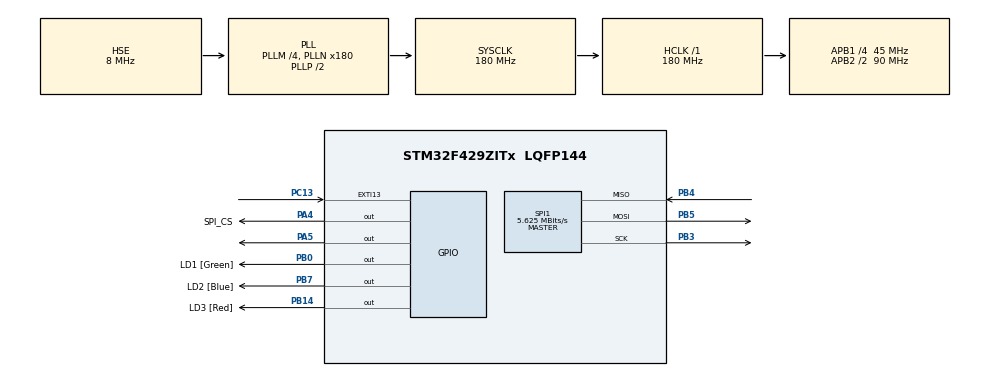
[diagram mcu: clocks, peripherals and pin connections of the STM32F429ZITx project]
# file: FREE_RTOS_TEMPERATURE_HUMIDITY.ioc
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FREERTOS.Queues01=myDataQueue,1,QUEUE_t,0,Dynamic,NULL,NULL;myTempDisplayQueue,1,Queue_Temp_Hum_t,0,Dynamic,NULL,NULL;myCalcDisplayQueue,1,Queue_Dev_t,0,Dynamic,NULL,NULL
FREERTOS.Tasks01=myDHT22Task,24,256,StartDHT22Task,Default,NULL,Dynamic,NULL,NULL;myCalculationTa,24,512,StartCalculationTask,Default,NULL,Dynamic,NULL,NULL;myDisplayTask,24,256,StartDisplayTask,Default,NULL,Dynamic,NULL,NULL
FREERTOS.configUSE_NEWLIB_REENTRANT=1
Mcu.Family=STM32F4
Mcu.Name=STM32F429ZITx
Mcu.Package=LQFP144
NVIC.EXTI15_10_IRQn=true\:5\:0\:false\:false\:true\:true\:true\:true\:true
NVIC.PriorityGroup=NVIC_PRIORITYGROUP_4
NVIC.SPI1_IRQn=true\:5\:0\:false\:false\:true\:true\:true\:true\:true
NVIC.TIM1_BRK_TIM9_IRQn=true\:5\:0\:false\:false\:true\:true\:true\:true\:true
NVIC.TIM1_UP_TIM10_IRQn=true\:5\:0\:false\:false\:true\:true\:true\:true\:true
NVIC.TIM2_IRQn=true\:5\:0\:false\:false\:true\:true\:true\:true\:true
NVIC.TIM6_DAC_IRQn=true\:15\:0\:false\:false\:true\:false\:false\:true\:true
NVIC.TimeBase=TIM6_DAC_IRQn
NVIC.TimeBaseIP=TIM6
PA13.Mode=Serial_Wire
PA13.Signal=SYS_JTMS-SWDIO
PA14.Mode=Serial_Wire
PA14.Signal=SYS_JTCK-SWCLK
PA4.GPIO_Label=SPI_CS
PA4.Signal=GPIO_Output
PA5.Signal=GPIO_Output
PB0.GPIO_Label=LD1 [Green]
PB0.Signal=GPIO_Output
PB14.GPIO_Label=LD3 [Red]
PB14.Signal=GPIO_Output
PB3.Mode=Full_Duplex_Master
PB3.Signal=SPI1_SCK
PB4.Mode=Full_Duplex_Master
PB4.Signal=SPI1_MISO
PB5.Mode=Full_Duplex_Master
PB5.Signal=SPI1_MOSI
PB7.GPIO_Label=LD2 [Blue]
PB7.Signal=GPIO_Output
PC13.GPIO_ModeDefaultEXTI=GPIO_MODE_IT_RISING
PC13.GPIO_PuPd=GPIO_PULLDOWN
PC13.Signal=GPXTI13
PC14/OSC32_IN.Mode=LSE-External-Oscillator
PC14/OSC32_IN.Signal=RCC_OSC32_IN
PC15/OSC32_OUT.Mode=LSE-External-Oscillator
PC15/OSC32_OUT.Signal=RCC_OSC32_OUT
PH0/OSC_IN.GPIO_Label=MCO [STM32F103CBT6_PA8]
PH0/OSC_IN.Mode=HSE-External-Clock-Source
PH0/OSC_IN.Signal=RCC_OSC_IN
PH1/OSC_OUT.Mode=HSE-External-Clock-Source
PH1/OSC_OUT.Signal=RCC_OSC_OUT
ProjectManager.HeapSize=0x200
ProjectManager.StackSize=0x400
ProjectManager.TargetToolchain=STM32CubeIDE
RCC.48MHZClocksFreq_Value=51428571.428571425
RCC.AHBFreq_Value=180000000
RCC.APB1CLKDivider=RCC_HCLK_DIV4
RCC.APB1Freq_Value=45000000
RCC.APB1TimFreq_Value=90000000
RCC.APB2CLKDivider=RCC_HCLK_DIV2
RCC.APB2Freq_Value=90000000
RCC.APB2TimFreq_Value=180000000
RCC.CortexFreq_Value=180000000
RCC.HCLKFreq_Value=180000000
RCC.HSE_VALUE=8000000
RCC.HSI_VALUE=16000000
RCC.PLLM=4
RCC.PLLMUL=RCC_PLL_MUL9
RCC.PLLN=180
RCC.PLLQ=7
RCC.PLLSourceVirtual=RCC_PLLSOURCE_HSE
RCC.PRESCALERUSB=RCC_USBCLKSOURCE_PLL_DIV1_5
RCC.SYSCLKFreq_VALUE=180000000
RCC.SYSCLKSource=RCC_SYSCLKSOURCE_PLLCLK
RCC.SYSCLKSourceVirtual=RCC_SYSCLKSOURCE_PLLCLK
RCC.USBFreq_Value=48000000
RCC.VCOOutputFreq_Value=360000000
SPI1.BaudRatePrescaler=SPI_BAUDRATEPRESCALER_16
SPI1.CalculateBaudRate=5.625 MBits/s
SPI1.Direction=SPI_DIRECTION_2LINES
SPI1.Mode=SPI_MODE_MASTER
SPI1.VirtualType=VM_MASTER
TIM1.Period=900-1
TIM1.Prescaler=1000-1
TIM2.Period=10000-1
TIM2.Prescaler=9000-1
VP_FREERTOS_VS_CMSIS_V2.Mode=CMSIS_V2
VP_SYS_VS_tim6.Mode=TIM6
VP_TIM1_VS_ClockSourceINT.Mode=Internal
VP_TIM2_VS_ClockSourceINT.Mode=Internal
board=NUCLEO-F429ZI

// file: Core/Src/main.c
/* USER CODE BEGIN Header */
/**
  ******************************************************************************
  * @file           : main.c
  * @brief          : Main program body
  ******************************************************************************
  * @attention
  *
  * Copyright (c) 2022 STMicroelectronics.
  * All rights reserved.
  *
  * This software is licensed under terms that can be found in the LICENSE file
  * in the root directory of this software component.
  * If no LICENSE file comes with this software, it is provided AS-IS.
  *
  ******************************************************************************
  */
/* USER CODE END Header */
#include "main.h"
#include "cmsis_os.h"

/* USER CODE BEGIN Includes */

#include <math.h>
#include "stdio.h"
#include <string.h>
#include <stdint.h>
#include <stdbool.h>
#include "DHT22.h"
#include "max7219_lib.h"

/* USER CODE END Includes */

/* USER CODE BEGIN PTD */

typedef struct {
	float temper;
	float humid;
} QUEUE_t;

typedef struct {
	float Temper;
	float Humid;
} Queue_Temp_Hum_t;

typedef struct {
	float max_deviation_t_pos;
	float max_deviation_t_neg;
	float max_deviation_h_pos;
	float max_deviation_h_neg;
} Queue_Dev_t;

/* USER CODE END PTD */

 SPI_HandleTypeDef hspi1;

TIM_HandleTypeDef htim1;
TIM_HandleTypeDef htim2;

/* Definitions for myDHT22Task */
osThreadId_t myDHT22TaskHandle;
const osThreadAttr_t myDHT22Task_attributes = {
  .name = "myDHT22Task",
  .stack_size = 256 * 4,
  .priority = (osPriority_t) osPriorityNormal,
};
/* Definitions for myCalculationTa */
osThreadId_t myCalculationTaHandle;
const osThreadAttr_t myCalculationTa_attributes = {
  .name = "myCalculationTa",
  .stack_size = 512 * 4,
  .priority = (osPriority_t) osPriorityNormal,
};
/* Definitions for myDisplayTask */
osThreadId_t myDisplayTaskHandle;
const osThreadAttr_t myDisplayTask_attributes = {
  .name = "myDisplayTask",
  .stack_size = 256 * 4,
  .priority = (osPriority_t) osPriorityNormal,
};
/* Definitions for myDataQueue */
osMessageQueueId_t myDataQueueHandle;
const osMessageQueueAttr_t myDataQueue_attributes = {
  .name = "myDataQueue"
};
/* Definitions for myTempDisplayQueue */
osMessageQueueId_t myTempDisplayQueueHandle;
const osMessageQueueAttr_t myTempDisplayQueue_attributes = {
  .name = "myTempDisplayQueue"
};
/* Definitions for myCalcDisplayQueue */
osMessageQueueId_t myCalcDisplayQueueHandle;
const osMessageQueueAttr_t myCalcDisplayQueue_attributes = {
  .name = "myCalcDisplayQueue"
};
/* USER CODE BEGIN PV */

//float temper, humid;
//float tMid, hMid;
//float tMin = 100, hMin = 100;
//float tMax, hMax;
//float max_deviation_t_pos;
//float max_deviation_t_neg;
//float max_deviation_h_pos;
//float max_deviation_h_neg;
//float value_t_per_t [60] = {0,};
//float value_h_per_t [60] = {0,};
uint8_t seconds_counter = 0; //якщо треба 1 год.
uint8_t counter = 0;
uint16_t time_counter = 0;
uint8_t time_flag = 0;
char LCD_Char[4]={'0','0','0','0'};
uint8_t btn_state = 0;

/* USER CODE END PV */

void SystemClock_Config(void);
static void MX_GPIO_Init(void);
static void MX_SPI1_Init(void);
static void MX_TIM1_Init(void);
static void MX_TIM2_Init(void);
void StartDHT22Task(void *argument);
void StartCalculationTask(void *argument);
void StartDisplayTask(void *argument);

/* USER CODE BEGIN 0 */

//void num_to_str(unsigned int value){
//LCD_Char[3]=((value/1000)%10);
//LCD_Char[2]=((value/100)%10);
//LCD_Char[1]=((value/10)%10);
//LCD_Char[0]=(value%10);
//}

/* USER CODE END 0 */

int main(void)
{

  /* MCU Configuration--------------------------------------------------------*/

  /* Reset of all peripherals, Initializes the Flash interface and the Systick. */
  HAL_Init();

  /* Configure the system clock */
  SystemClock_Config();

  /* Initialize all configured peripherals */
  MX_GPIO_Init();
  MX_SPI1_Init();
  MX_TIM1_Init();
  MX_TIM2_Init();
  /* USER CODE BEGIN 2 */
  HAL_Delay(100);
  max7219_Init();
  HAL_Delay(100);///////////////////////////////////////////////////////////////////////
  HAL_TIM_Base_Start_IT(&htim2);

  /* USER CODE END 2 */

  /* Init scheduler */
  osKernelInitialize();

  /* Create the queue(s) */
  /* creation of myDataQueue */
  myDataQueueHandle = osMessageQueueNew (1, sizeof(QUEUE_t), &myDataQueue_attributes);

  /* creation of myTempDisplayQueue */
  myTempDisplayQueueHandle = osMessageQueueNew (1, sizeof(Queue_Temp_Hum_t), &myTempDisplayQueue_attributes);

  /* creation of myCalcDisplayQueue */
  myCalcDisplayQueueHandle = osMessageQueueNew (1, sizeof(Queue_Dev_t), &myCalcDisplayQueue_attributes);

  /* Create the thread(s) */
  /* creation of myDHT22Task */
  myDHT22TaskHandle = osThreadNew(StartDHT22Task, NULL, &myDHT22Task_attributes);

  /* creation of myCalculationTa */
  myCalculationTaHandle = osThreadNew(StartCalculationTask, NULL, &myCalculationTa_attributes);

  /* creation of myDisplayTask */
  myDisplayTaskHandle = osThreadNew(StartDisplayTask, NULL, &myDisplayTask_attributes);

  /* Start scheduler */
  osKernelStart();

  /* We should never get here as control is now taken by the scheduler */
  /* Infinite loop */
  while (1)
  {

    /* USER CODE BEGIN 3 */

//	  DHT_data d = DHT_getData(DHT22);
//	  temper = d.temp;
//	  humid = d.hum;
////	  printf ("T = %f\r\n", d.temp);
////	  printf ("H = %f\r\n", d.hum);
//	  HAL_Delay(1000);
//	  //////////////////
//	  if(btn_state == 0)
//	  {
//		  max7219_Send_float(temper);
//	  }
//	  else
//	  {
//		  max7219_Send_float(humid);
//	  }

  }
  /* USER CODE END 3 */
}

void SystemClock_Config(void)
{
  RCC_OscInitTypeDef RCC_OscInitStruct = {0};
  RCC_ClkInitTypeDef RCC_ClkInitStruct = {0};

  /** Configure the main internal regulator output voltage
  */
  __HAL_RCC_PWR_CLK_ENABLE();
  __HAL_PWR_VOLTAGESCALING_CONFIG(PWR_REGULATOR_VOLTAGE_SCALE1);

  /** Initializes the RCC Oscillators according to the specified parameters
  * in the RCC_OscInitTypeDef structure.
  */
  RCC_OscInitStruct.OscillatorType = RCC_OSCILLATORTYPE_HSE;
  RCC_OscInitStruct.HSEState = RCC_HSE_BYPASS;
  RCC_OscInitStruct.PLL.PLLState = RCC_PLL_ON;
  RCC_OscInitStruct.PLL.PLLSource = RCC_PLLSOURCE_HSE;
  RCC_OscInitStruct.PLL.PLLM = 4;
  RCC_OscInitStruct.PLL.PLLN = 180;
  RCC_OscInitStruct.PLL.PLLP = RCC_PLLP_DIV2;
  RCC_OscInitStruct.PLL.PLLQ = 7;
  if (HAL_RCC_OscConfig(&RCC_OscInitStruct) != HAL_OK)
  {
    Error_Handler();
  }

  /** Activate the Over-Drive mode
  */
  if (HAL_PWREx_EnableOverDrive() != HAL_OK)
  {
    Error_Handler();
  }

  /** Initializes the CPU, AHB and APB buses clocks
  */
  RCC_ClkInitStruct.ClockType = RCC_CLOCKTYPE_HCLK|RCC_CLOCKTYPE_SYSCLK
                              |RCC_CLOCKTYPE_PCLK1|RCC_CLOCKTYPE_PCLK2;
  RCC_ClkInitStruct.SYSCLKSource = RCC_SYSCLKSOURCE_PLLCLK;
  RCC_ClkInitStruct.AHBCLKDivider = RCC_SYSCLK_DIV1;
  RCC_ClkInitStruct.APB1CLKDivider = RCC_HCLK_DIV4;
  RCC_ClkInitStruct.APB2CLKDivider = RCC_HCLK_DIV2;

  if (HAL_RCC_ClockConfig(&RCC_ClkInitStruct, FLASH_LATENCY_5) != HAL_OK)
  {
    Error_Handler();
  }
}

static void MX_SPI1_Init(void)
{

  /* SPI1 parameter configuration*/
  hspi1.Instance = SPI1;
  hspi1.Init.Mode = SPI_MODE_MASTER;
  hspi1.Init.Direction = SPI_DIRECTION_2LINES;
  hspi1.Init.DataSize = SPI_DATASIZE_8BIT;
  hspi1.Init.CLKPolarity = SPI_POLARITY_LOW;
  hspi1.Init.CLKPhase = SPI_PHASE_1EDGE;
  hspi1.Init.NSS = SPI_NSS_SOFT;
  hspi1.Init.BaudRatePrescaler = SPI_BAUDRATEPRESCALER_16;
  hspi1.Init.FirstBit = SPI_FIRSTBIT_MSB;
  hspi1.Init.TIMode = SPI_TIMODE_DISABLE;
  hspi1.Init.CRCCalculation = SPI_CRCCALCULATION_DISABLE;
  hspi1.Init.CRCPolynomial = 10;
  if (HAL_SPI_Init(&hspi1) != HAL_OK)
  {
    Error_Handler();
  }

}

static void MX_TIM1_Init(void)
{

  TIM_ClockConfigTypeDef sClockSourceConfig = {0};
  TIM_MasterConfigTypeDef sMasterConfig = {0};

  htim1.Instance = TIM1;
  htim1.Init.Prescaler = 1000-1;
  htim1.Init.CounterMode = TIM_COUNTERMODE_UP;
  htim1.Init.Period = 900-1;
  htim1.Init.ClockDivision = TIM_CLOCKDIVISION_DIV1;
  htim1.Init.RepetitionCounter = 0;
  htim1.Init.AutoReloadPreload = TIM_AUTORELOAD_PRELOAD_DISABLE;
  if (HAL_TIM_Base_Init(&htim1) != HAL_OK)
  {
    Error_Handler();
  }
  sClockSourceConfig.ClockSource = TIM_CLOCKSOURCE_INTERNAL;
  if (HAL_TIM_ConfigClockSource(&htim1, &sClockSourceConfig) != HAL_OK)
  {
    Error_Handler();
  }
  sMasterConfig.MasterOutputTrigger = TIM_TRGO_RESET;
  sMasterConfig.MasterSlaveMode = TIM_MASTERSLAVEMODE_DISABLE;
  if (HAL_TIMEx_MasterConfigSynchronization(&htim1, &sMasterConfig) != HAL_OK)
  {
    Error_Handler();
  }

}

static void MX_TIM2_Init(void)
{

  TIM_ClockConfigTypeDef sClockSourceConfig = {0};
  TIM_MasterConfigTypeDef sMasterConfig = {0};

  htim2.Instance = TIM2;
  htim2.Init.Prescaler = 9000-1;
  htim2.Init.CounterMode = TIM_COUNTERMODE_UP;
  htim2.Init.Period = 10000-1;
  htim2.Init.ClockDivision = TIM_CLOCKDIVISION_DIV1;
  htim2.Init.AutoReloadPreload = TIM_AUTORELOAD_PRELOAD_DISABLE;
  if (HAL_TIM_Base_Init(&htim2) != HAL_OK)
  {
    Error_Handler();
  }
  sClockSourceConfig.ClockSource = TIM_CLOCKSOURCE_INTERNAL;
  if (HAL_TIM_ConfigClockSource(&htim2, &sClockSourceConfig) != HAL_OK)
  {
    Error_Handler();
  }
  sMasterConfig.MasterOutputTrigger = TIM_TRGO_RESET;
  sMasterConfig.MasterSlaveMode = TIM_MASTERSLAVEMODE_DISABLE;
  if (HAL_TIMEx_MasterConfigSynchronization(&htim2, &sMasterConfig) != HAL_OK)
  {
    Error_Handler();
  }

}

static void MX_GPIO_Init(void)
{
  GPIO_InitTypeDef GPIO_InitStruct = {0};

  /* GPIO Ports Clock Enable */
  __HAL_RCC_GPIOC_CLK_ENABLE();
  __HAL_RCC_GPIOH_CLK_ENABLE();
  __HAL_RCC_GPIOA_CLK_ENABLE();
  __HAL_RCC_GPIOB_CLK_ENABLE();

  /*Configure GPIO pin Output Level */
  HAL_GPIO_WritePin(GPIOA, SPI_CS_Pin|GPIO_PIN_5, GPIO_PIN_RESET);

  /*Configure GPIO pin Output Level */
  HAL_GPIO_WritePin(GPIOB, LD1_Pin|LD3_Pin|LD2_Pin, GPIO_PIN_RESET);

  /*Configure GPIO pin : PC13 */
  GPIO_InitStruct.Pin = GPIO_PIN_13;
  GPIO_InitStruct.Mode = GPIO_MODE_IT_RISING;
  GPIO_InitStruct.Pull = GPIO_PULLDOWN;
  HAL_GPIO_Init(GPIOC, &GPIO_InitStruct);

  /*Configure GPIO pins : SPI_CS_Pin PA5 */
  GPIO_InitStruct.Pin = SPI_CS_Pin|GPIO_PIN_5;
  GPIO_InitStruct.Mode = GPIO_MODE_OUTPUT_PP;
  GPIO_InitStruct.Pull = GPIO_NOPULL;
  GPIO_InitStruct.Speed = GPIO_SPEED_FREQ_LOW;
  HAL_GPIO_Init(GPIOA, &GPIO_InitStruct);

  /*Configure GPIO pins : LD1_Pin LD3_Pin LD2_Pin */
  GPIO_InitStruct.Pin = LD1_Pin|LD3_Pin|LD2_Pin;
  GPIO_InitStruct.Mode = GPIO_MODE_OUTPUT_PP;
  GPIO_InitStruct.Pull = GPIO_NOPULL;
  GPIO_InitStruct.Speed = GPIO_SPEED_FREQ_LOW;
  HAL_GPIO_Init(GPIOB, &GPIO_InitStruct);

  /* EXTI interrupt init*/
  HAL_NVIC_SetPriority(EXTI15_10_IRQn, 5, 0);
  HAL_NVIC_EnableIRQ(EXTI15_10_IRQn);

}

/* USER CODE BEGIN 4 */

void HAL_GPIO_EXTI_Callback(uint16_t GPIO_Pin)
{
	if(GPIO_Pin == GPIO_PIN_13)
	{
		HAL_NVIC_DisableIRQ(EXTI15_10_IRQn); // сразу же отключаем прерывания на этом пине
		// либо выполняем какое-то действие прямо тут, либо поднимаем флажок
		HAL_TIM_Base_Start_IT(&htim1); // запускаем таймер //200 ms
	}
}

//void HAL_TIM_PeriodElapsedCallback(TIM_HandleTypeDef *htim)
//{
//
//	if(htim->Instance == TIM1)
//	{
//		HAL_TIM_Base_Stop_IT(&htim1); // останавливаем таймер
//		__HAL_GPIO_EXTI_CLEAR_IT(GPIO_PIN_13);  // очищаем бит EXTI_PR (бит прерывания)
//		NVIC_ClearPendingIRQ(EXTI15_10_IRQn); // очищаем бит NVIC_ICPRx (бит очереди)
//		HAL_NVIC_EnableIRQ(EXTI15_10_IRQn);   // включаем внешнее прерывание
//		//btn_cur = HAL_GPIO_ReadPin(GPIOC, GPIO_PIN_13);
//
//		if(HAL_GPIO_ReadPin(GPIOC, GPIO_PIN_13) == 1)
//		{
//			if(btn_state == 0)
//			{
//				btn_state = 1;
//			}
//			else btn_state = 0;
//		}
//		/*if((btn_prev == 0) && (btn_cur != 0))
//		{
//		}*/
//	}
//}

//void max7219_Transmit(uint8_t adress, uint8_t data){
//	uint8_t tx_buffer[1] = {0};
//	HAL_GPIO_WritePin(GPIOA, SPI_CS_Pin, 0);         //SPI_CS set
//	tx_buffer[0] = adress;
//	HAL_SPI_Transmit(&hspi1, tx_buffer, 1, 0xFFFF);
//	tx_buffer[0] = data;
//	HAL_SPI_Transmit(&hspi1, tx_buffer, 1, 0xFFFF);
//	HAL_GPIO_WritePin(GPIOA, SPI_CS_Pin, 1);         //SPI_CS reset
//}
//
//void max7219_Init (void){
//	max7219_Transmit(0x09, 0x00); //Без режиму декодування
//	max7219_Transmit(0x0A, 0x0F); //Максимальна яскравість
//	max7219_Transmit(0x0B, 0x0B); //Задіюєм всі розряди дисплею
//	max7219_Transmit(0x0C, 0x01); //Виводимо дисплей зі сну
//	max7219_Transmit(0x0F, 0x01); //Тест дисплею
//	HAL_Delay(2000);
//	max7219_Transmit(0x0F, 0x01); //Тест дисплею
//}

/* USER CODE END 4 */

void StartDHT22Task(void *argument)
{
  /* USER CODE BEGIN 5 */
	QUEUE_t measure;
	Queue_Temp_Hum_t Measure;

	float temper, humid;
  /* Infinite loop */
  for(;;)
  {
	  DHT_data d = DHT_getData(DHT22);
	  temper = roundf(d.temp * 10)/10;
	  humid = roundf(d.hum * 10)/10;

	  measure.temper = temper;//roundf(d.temp * 10)/10;   /* round(d.temp * 10) / 10;roundf(val * 100) / 100;    Result: 37.77 floorf(val * 100) / 100; ceilf(val * 100) / 100;*/
	  measure.humid = humid;//roundf(d.hum * 10)/10;
	  Measure.Temper = temper;
	  Measure.Humid = humid;
	  osDelay(1000);
	  //HAL_Delay(1000);
	  //xQueueSend(myDataQueueHandle, &measure, 10);
	  osMessageQueuePut(myDataQueueHandle, &measure, 0, osWaitForever);
	  osMessageQueuePut(myTempDisplayQueueHandle, &Measure, 0, osWaitForever);
	  osDelay(1);
  }
  /* USER CODE END 5 */
}

void StartCalculationTask(void *argument)
{
  /* USER CODE BEGIN StartCalculationTask */
	QUEUE_t measure;
	Queue_Dev_t deviation;

	static uint8_t position;

	static float value_t_per_t [60] = {1000,};
	static float value_h_per_t [60] = {1000,};

	static float tMid, hMid;
	static float tMin = 100, hMin = 100;
	static float tMax, hMax;
	float sum_temper;
	float sum_humid;

	for (int i = 0; i < 60; ++i)
	{
		value_t_per_t [i] = 111;
		value_h_per_t [i] = 111;
	}

  /* Infinite loop */
	for(;;)
	{
		//if(xQueueReceive(myDataQueueHandle, &measure, 10) == pdTRUE)
		if(osMessageQueueGet(myDataQueueHandle, &measure, 0, osWaitForever) == osOK)
		{
			if(time_flag == 1)
			{
				if(seconds_counter < 60)
				{
					seconds_counter ++;
					time_flag = 0;
				}
				else{
					if(counter < 60)
					{
						value_t_per_t [counter] = measure.temper;
						value_h_per_t [counter] = measure.humid;

						//якщо не пройшла година то розраховуються знач. пройденого часу в хв.
						for(int i = 0; i < 60; ++i)
						{
							if(value_t_per_t [i] == 111)
							{
								position = (i-1);
								break;
							}
							else position = 60;
						}

						for(int i = 0; i < position; ++i)
						{
							if(tMax <= value_t_per_t [i])
							{
								tMax = value_t_per_t [i];
							}
							if(hMax <= value_h_per_t [i])
							{
								hMax = value_h_per_t [i];
							}

							if(tMin >= value_t_per_t [i])
							{
								if (value_t_per_t [i] != 0)
									tMin = value_t_per_t [i];
							}
							if(hMin >= value_h_per_t [i])
							{
								if (value_h_per_t [i] != 0)
									hMin = value_h_per_t [i];
							}
						}

						counter ++;
						for(int i = 0; i < position; ++i)
						{
							sum_temper = sum_temper + value_t_per_t [i];
							sum_humid = sum_humid + value_h_per_t [i];
						}
						tMid = sum_temper / position;
						hMid = sum_humid / position;
						sum_temper = 0;
						sum_humid = 0;
						deviation.max_deviation_t_pos = tMax - tMid;
						deviation.max_deviation_h_pos = hMax - hMid;
						deviation.max_deviation_t_neg = tMin - tMid;
						deviation.max_deviation_h_neg = hMin - hMid;

						tMax = 0;
						hMax = 0;
						tMin = 100;
						hMin = 100;
					}
					else
					{
						counter = 0;
					}
					time_flag = 0;
					//Скидання секундного прапорця
					seconds_counter = 0;
				}

			}
			//time_flag = 0;
		}
		osMessageQueuePut(myCalcDisplayQueueHandle, &deviation, 0, osWaitForever);
		osDelay(1);
	}
  /* USER CODE END StartCalculationTask */
}

void StartDisplayTask(void *argument)
{
  /* USER CODE BEGIN StartDisplayTask */
	Queue_Temp_Hum_t Measure;
	Queue_Dev_t deviation;
  /* Infinite loop */
  for(;;)
  {
	  osMessageQueueGet(myTempDisplayQueueHandle, &Measure, 0, osWaitForever);
	  osMessageQueueGet(myCalcDisplayQueueHandle, &deviation, 0, osWaitForever);
	  switch(btn_state)
	  {
	  case 0:
		  max7219_Send_float(Measure.Temper);
		  break;
	  case 1:
		  max7219_Send_float(Measure.Humid);
		  break;
	  case 2:
		  max7219_Send_float(deviation.max_deviation_t_pos);
	  		  break;
	  case 3:
		  max7219_Send_float(deviation.max_deviation_t_neg);
	  		  break;
	  case 4:
		  max7219_Send_float(deviation.max_deviation_h_pos);
	  		  break;
	  case 5:
		  max7219_Send_float(deviation.max_deviation_h_neg);
	  		  break;
	  }
	  osDelay(1);
  }
  /* USER CODE END StartDisplayTask */
}

void HAL_TIM_PeriodElapsedCallback(TIM_HandleTypeDef *htim)
{
  if (htim->Instance == TIM6) {
    HAL_IncTick();
  }
  /* USER CODE BEGIN Callback 1 */

  if(htim->Instance == TIM1)
  {
	  HAL_TIM_Base_Stop_IT(&htim1); // останавливаем таймер
	  __HAL_GPIO_EXTI_CLEAR_IT(GPIO_PIN_13);  // очищаем бит EXTI_PR (бит прерывания)
	  NVIC_ClearPendingIRQ(EXTI15_10_IRQn); // очищаем бит NVIC_ICPRx (бит очереди)
	  HAL_NVIC_EnableIRQ(EXTI15_10_IRQn);   // включаем внешнее прерывание
	  //btn_cur = HAL_GPIO_ReadPin(GPIOC, GPIO_PIN_13);

	  if(HAL_GPIO_ReadPin(GPIOC, GPIO_PIN_13) == 1)
	  {
		  if(btn_state < 5)
		  {
			  btn_state ++;
		  }
		  else btn_state = 0;
	  }
  }

  if(htim->Instance == TIM2)
  {
//	  if(time_counter < 60)
//	  {
//		  time_counter ++;
//	  }
//	  else
//	  {
//		  time_flag = 1;
//		  time_counter = 0;
//	  }
	  time_flag = 1;
  }

  /* USER CODE END Callback 1 */
}

void Error_Handler(void)
{
  __disable_irq();
  while (1)
  {
  }
}
